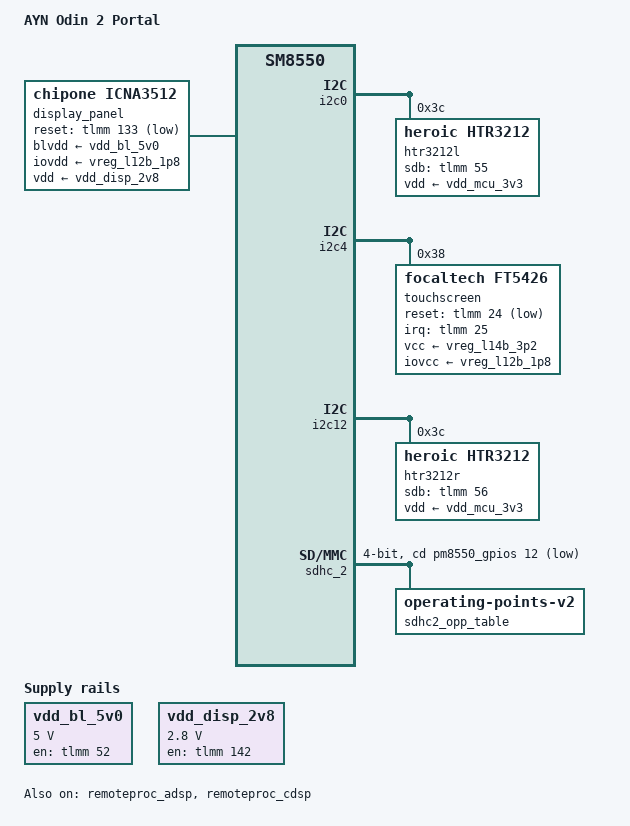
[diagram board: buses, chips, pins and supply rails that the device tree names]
// SPDX-License-Identifier: BSD-3-Clause
/*
 * Copyright (c) 2025, Teguh Sobirin.
 */

/dts-v1/;

#include "qcs8550-ayn-common.dtsi"

/ {
	model = "AYN Odin 2 Portal";
	compatible = "ayn,odin2portal", "qcom,qcs8550", "qcom,sm8550";
	qcom,msm-id = <603 0x20000>;
	qcom,board-id = <0x1001f 0>;

	vdd_bl_5v0: vdd-bl-5v0-regulator {
		compatible = "regulator-fixed";
		regulator-name = "vdd_bl_5v0";

		regulator-min-microvolt = <5000000>;
		regulator-max-microvolt = <5000000>;

		gpio = <&tlmm 52 GPIO_ACTIVE_HIGH>;
		enable-active-high;
	};

	vdd_disp_2v8: vdd-disp-2v8-regulator {
		compatible = "regulator-fixed";
		regulator-name = "vdd_disp_2v8";

		regulator-min-microvolt = <2800000>;
		regulator-max-microvolt = <2800000>;

		gpio = <&tlmm 142 GPIO_ACTIVE_HIGH>;
		enable-active-high;
	};
};

&display_panel {
	compatible = "chipone,icna3512";

	blvdd-supply = <&vdd_bl_5v0>;
	iovdd-supply = <&vreg_l12b_1p8>;
	vdd-supply = <&vdd_disp_2v8>;

	reset-gpios = <&tlmm 133 GPIO_ACTIVE_LOW>;

	rotation = <270>;
};

&gpu {
	zap-shader {
		firmware-name = "qcom/sm8550/ayn/odin2portal/a740_zap.mbn";
	};
};

&i2c0 {
	htr3212l: led-controller@3c {
		compatible = "heroic,htr3212";
		reg = <0x3c>;
		#address-cells = <1>;
		#size-cells = <0>;
		sdb-gpios = <&tlmm 55 GPIO_ACTIVE_HIGH>;
		vdd-supply = <&vdd_mcu_3v3>;

		ledl_b1: led@1 {
			reg = <1>;
			label = "l:r1";
			color = <LED_COLOR_ID_RED>;
		};
		ledl_g1: led@2 {
			reg = <2>;
			label = "l:g1";
			color = <LED_COLOR_ID_GREEN>;
		};
		ledl_r1: led@3 {
			reg = <3>;
			label = "l:b1";
			color = <LED_COLOR_ID_BLUE>;
		};
		ledl_b2: led@4 {
			reg = <4>;
			label = "l:r2";
			color = <LED_COLOR_ID_RED>;
		};
		ledl_g2: led@5 {
			reg = <5>;
			label = "l:g2";
			color = <LED_COLOR_ID_GREEN>;
		};
		ledl_r2: led@6 {
			reg = <6>;
			label = "l:b2";
			color = <LED_COLOR_ID_BLUE>;
		};
		ledl_b3: led@7 {
			reg = <7>;
			label = "l:r3";
			color = <LED_COLOR_ID_RED>;
		};
		ledl_g3: led@8 {
			reg = <8>;
			label = "l:g3";
			color = <LED_COLOR_ID_GREEN>;
		};
		ledl_r3: led@9 {
			reg = <9>;
			label = "l:b3";
			color = <LED_COLOR_ID_BLUE>;
		};
		ledl_b4: led@10 {
			reg = <10>;
			label = "l:r4";
			color = <LED_COLOR_ID_RED>;
		};
		ledl_g4: led@11 {
			reg = <11>;
			label = "l:g4";
			color = <LED_COLOR_ID_GREEN>;
		};
		ledl_r4: led@12 {
			reg = <12>;
			label = "l:b4";
			color = <LED_COLOR_ID_BLUE>;
		};
	};
};

&i2c4 {
	touchscreen: touchscreen@38 {
		compatible = "focaltech,ft5426";
		reg = <0x38>;
		#address-cells = <1>;
		#size-cells = <0>;

		interrupt-parent = <&tlmm>;
		interrupts = <25 IRQ_TYPE_EDGE_FALLING>;

		reset-gpios = <&tlmm 24 GPIO_ACTIVE_LOW>;

		vcc-supply = <&vreg_l14b_3p2>;
		iovcc-supply = <&vreg_l12b_1p8>;

		pinctrl-0 = <&ts_int_default &ts_rst_default>;
		pinctrl-1 = <&ts_int_sleep &ts_rst_sleep>;
		pinctrl-names = "default", "sleep";

		touchscreen-size-x = <1080>;
		touchscreen-size-y = <1920>;
	};
};

&i2c12 {
	htr3212r: led-controller@3c {
		compatible = "heroic,htr3212";
		reg = <0x3c>;
		#address-cells = <1>;
		#size-cells = <0>;
		sdb-gpios = <&tlmm 56 GPIO_ACTIVE_HIGH>;
		vdd-supply = <&vdd_mcu_3v3>;

		ledr_b1: led@1 {
			reg = <1>;
			label = "r:r1";
			color = <LED_COLOR_ID_RED>;
		};
		ledr_g1: led@2 {
			reg = <2>;
			label = "r:g1";
			color = <LED_COLOR_ID_GREEN>;
		};
		ledr_r1: led@3 {
			reg = <3>;
			label = "r:b1";
			color = <LED_COLOR_ID_BLUE>;
		};
		ledr_b2: led@4 {
			reg = <4>;
			label = "r:r2";
			color = <LED_COLOR_ID_RED>;
		};
		ledr_g2: led@5 {
			reg = <5>;
			label = "r:g2";
			color = <LED_COLOR_ID_GREEN>;
		};
		ledr_r2: led@6 {
			reg = <6>;
			label = "r:b2";
			color = <LED_COLOR_ID_BLUE>;
		};
		ledr_b3: led@7 {
			reg = <7>;
			label = "r:r3";
			color = <LED_COLOR_ID_RED>;
		};
		ledr_g3: led@8 {
			reg = <8>;
			label = "r:g3";
			color = <LED_COLOR_ID_GREEN>;
		};
		ledr_r3: led@9 {
			reg = <9>;
			label = "r:b3";
			color = <LED_COLOR_ID_BLUE>;
		};
		ledr_b4: led@10 {
			reg = <10>;
			label = "r:r4";
			color = <LED_COLOR_ID_RED>;
		};
		ledr_g4: led@11 {
			reg = <11>;
			label = "r:g4";
			color = <LED_COLOR_ID_GREEN>;
		};
		ledr_r4: led@12 {
			reg = <12>;
			label = "r:b4";
			color = <LED_COLOR_ID_BLUE>;
		};
	};
};

&remoteproc_adsp {
	firmware-name = "qcom/sm8550/ayn/odin2portal/adsp.mbn",
			"qcom/sm8550/ayn/odin2portal/adsp_dtb.mbn";
	status = "okay";
};

&remoteproc_cdsp {
	firmware-name = "qcom/sm8550/ayn/odin2portal/cdsp.mbn",
			"qcom/sm8550/ayn/odin2portal/cdsp_dtb.mbn";
	status = "okay";
};

&spk_amp_l {
	firmware-name = "qcom/sm8550/ayn/odin2portal/aw883xx_acf.bin";
};

&spk_amp_r {
	firmware-name = "qcom/sm8550/ayn/odin2portal/aw883xx_acf.bin";
};

/delete-node/ &sdhc2_opp_table;
/delete-node/ &sdhc_2;

&soc {
	qcom_tzlog: qcom_tzlog {
		status = "disabled";
	};

	arch_timer: arch_timer {
		status = "disabled";
	};

	sdhc_2: sdhci@8804000 {
		compatible = "qcom,sdhci-msm-v5-downstream";
		reg = <0 0x08804000 0 0x1000>;
		reg-names = "hc_mem";
		interrupts = <GIC_SPI 207 IRQ_TYPE_LEVEL_HIGH>,
					<GIC_SPI 223 IRQ_TYPE_LEVEL_HIGH>;
		interrupt-names = "hc_irq", "pwr_irq";
		bus-width = <4>;
		no-sdio;
		no-mmc;
		qcom,restore-after-cx-collapse;
		qcom,uses_level_shifter;
		qcom,dll_lock_bist_fail_wa;
		clocks = <&gcc GCC_SDCC2_AHB_CLK>,
			<&gcc GCC_SDCC2_APPS_CLK>;
		clock-names = "iface", "core";

		/*
		 * DLL HSR settings. Refer go/hsr - <Target> DLL settings.
		 * Note that the DLL_CONFIG_2 value is not passed from the
		 * device tree, but it is calculated in the driver.
		 */
		qcom,dll-hsr-list = <0x0007442C 0x0 0x10
					0x090106C0 0x80040868>;

		iommus = <&apps_smmu 0x540 0x0>;
		dma-coherent;
		interconnects = <&aggre2_noc MASTER_SDCC_2 0 &mc_virt SLAVE_EBI1 0>,
				<&gem_noc MASTER_APPSS_PROC 0 &config_noc SLAVE_SDCC_2 0>;
		interconnect-names = "sdhc-ddr", "cpu-sdhc";

		qcom,msm-bus,name = "sdhc2";
		qcom,msm-bus,num-cases = <0x07>;
		qcom,msm-bus,num-paths = <0x02>;
		qcom,msm-bus,vectors-KBps = <0x00 0x00 0x00 0x00 0x416 0xc80 0x640 0x640 0xff50 0x3d090 0x186a0 0x208c8 0x1fe9e 0x3d090 0x208c8 0x208c8 0x3fd3e 0x3d090 0x249f0 0x208c8 0x3fd3e 0xc3500 0x493e0 0x493e0 0x146cc2 0x3e8000 0x146cc2 0x3e8000>;
		qcom,bus-bw-vectors-bps = <0x00 0x61a80 0x17d7840 0x2faf080 0x5f5e100 0xbebc200 0xffffffff>;

		operating-points-v2 = <&sdhc2_opp_table>;

		vdd-supply = <&vreg_l9b_2p9>;
		qcom,vdd-voltage-level = <0x2d0370 0x2d2a80>;
		qcom,vdd-current-level = <0x00 0xc3500>;

		vdd-io-supply = <&vreg_l8b_1p8>;
		qcom,vdd-io-voltage-level = <0x1b7740 0x2d2a80>;
		qcom,vdd-io-current-level = <0x00 0x15e0>;

		pinctrl-names = "default", "sleep";
		pinctrl-0 = <&sdc2_default &sdc2_card_det_n>;
		pinctrl-1 = <&sdc2_sleep &sdc2_card_det_n>;

		cd-gpios = <&pm8550_gpios 12 GPIO_ACTIVE_LOW>;
		resets = <&gcc GCC_SDCC2_BCR>;
		reset-names = "core_reset";

		qos0 {
			mask = <0xf0>;
			vote = <0x2c>;
		};

		qos1 {
			mask = <0x0f>;
			vote = <0x2c>;
		};

		sdhc2_opp_table: opp-table {
			compatible = "operating-points-v2";

			opp-100000000 {
				opp-hz = <0x00 0x5f5e100>;
				opp-peak-kBps = <0x27100 0x186a0>;
				opp-avg-kBps = <0xc350 0x00>;
			};

			opp-202000000 {
				opp-hz = <0x00 0xc0a4680>;
				opp-peak-kBps = <0x30d40 0x1d4c0>;
				opp-avg-kBps = <0x19640 0x00>;
			};
		};
	};
};
